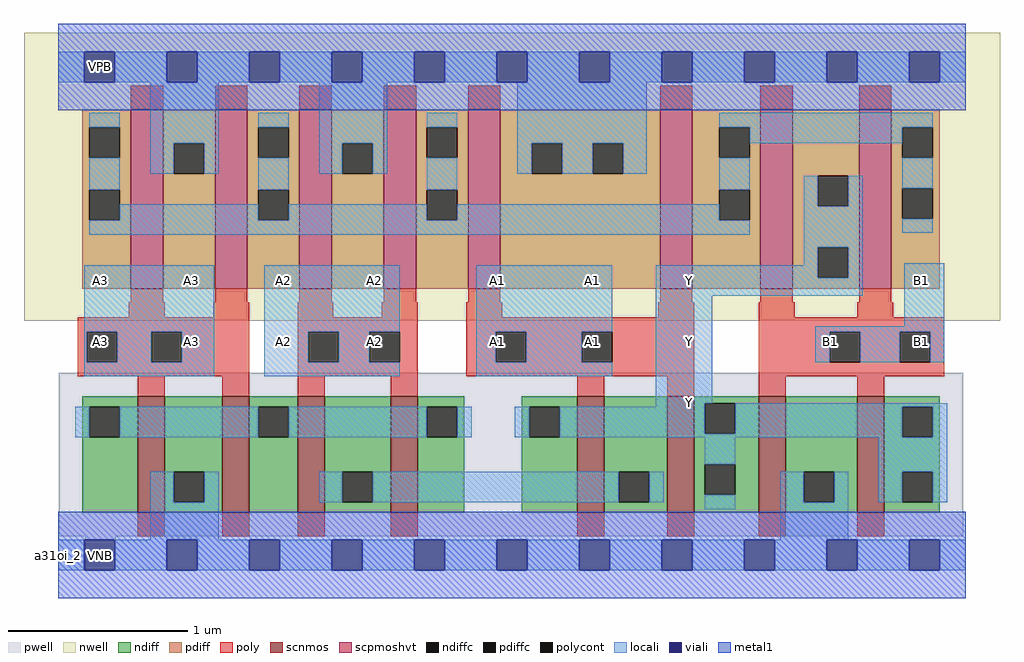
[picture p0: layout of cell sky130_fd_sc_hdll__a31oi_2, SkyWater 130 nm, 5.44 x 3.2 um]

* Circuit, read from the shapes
.subckt sky130_fd_sc_hdll__a31oi_2 A1 A2 A3 B1 VGND VNB VPB VPWR Y
XM1 VGND A3 n1 VNB sky130_fd_pr__nfet_01v8 w=0.65 l=0.15 m=2
XM2 n2 A2 n1 VNB sky130_fd_pr__nfet_01v8 w=0.65 l=0.15 m=2
XM3 n2 A1 Y VNB sky130_fd_pr__nfet_01v8 w=0.65 l=0.15 m=2
XM4 VGND B1 Y VNB sky130_fd_pr__nfet_01v8 w=0.65 l=0.15 m=2
XM5 VPWR A3 n3 VPB sky130_fd_pr__pfet_01v8_hvt w=1 l=0.18 m=2
XM6 VPWR A2 n3 VPB sky130_fd_pr__pfet_01v8_hvt w=1 l=0.18 m=2
XM7 VPWR A1 n3 VPB sky130_fd_pr__pfet_01v8_hvt w=1 l=0.18 m=2
XM8 Y B1 n3 VPB sky130_fd_pr__pfet_01v8_hvt w=1 l=0.18 m=2
.ends

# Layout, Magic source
magic
tech sky130A
magscale 1 2
<< nwell >>
rect -38 261 1050 582
<< pwell >>
rect 1 21 1009 203
rect 30 -17 64 21
<< scnmos >>
rect 89 47 119 177
rect 183 47 213 177
rect 267 47 297 177
rect 371 47 401 177
rect 579 47 609 177
rect 679 47 709 177
rect 781 47 811 177
rect 891 47 921 177
<< scpmoshvt >>
rect 81 297 117 497
rect 175 297 211 497
rect 269 297 305 497
rect 363 297 399 497
rect 457 297 493 497
rect 671 297 707 497
rect 783 297 819 497
rect 893 297 929 497
<< ndiff >>
rect 27 165 89 177
rect 27 131 35 165
rect 69 131 89 165
rect 27 47 89 131
rect 119 93 183 177
rect 119 59 129 93
rect 163 59 183 93
rect 119 47 183 59
rect 213 165 267 177
rect 213 131 223 165
rect 257 131 267 165
rect 213 47 267 131
rect 297 93 371 177
rect 297 59 317 93
rect 351 59 371 93
rect 297 47 371 59
rect 401 165 453 177
rect 401 131 411 165
rect 445 131 453 165
rect 401 47 453 131
rect 517 165 579 177
rect 517 131 525 165
rect 559 131 579 165
rect 517 47 579 131
rect 609 93 679 177
rect 609 59 625 93
rect 659 59 679 93
rect 609 47 679 59
rect 709 169 781 177
rect 709 135 721 169
rect 755 135 781 169
rect 709 101 781 135
rect 709 67 721 101
rect 755 67 781 101
rect 709 47 781 67
rect 811 93 891 177
rect 811 59 831 93
rect 865 59 891 93
rect 811 47 891 59
rect 921 165 983 177
rect 921 131 941 165
rect 975 131 983 165
rect 921 93 983 131
rect 921 59 941 93
rect 975 59 983 93
rect 921 47 983 59
<< pdiff >>
rect 27 477 81 497
rect 27 443 35 477
rect 69 443 81 477
rect 27 407 81 443
rect 27 373 35 407
rect 69 373 81 407
rect 27 297 81 373
rect 117 459 175 497
rect 117 425 129 459
rect 163 425 175 459
rect 117 297 175 425
rect 211 477 269 497
rect 211 443 223 477
rect 257 443 269 477
rect 211 407 269 443
rect 211 373 223 407
rect 257 373 269 407
rect 211 297 269 373
rect 305 459 363 497
rect 305 425 317 459
rect 351 425 363 459
rect 305 297 363 425
rect 399 477 457 497
rect 399 443 411 477
rect 445 443 457 477
rect 399 407 457 443
rect 399 373 411 407
rect 445 373 457 407
rect 399 297 457 373
rect 493 459 671 497
rect 493 425 528 459
rect 562 425 596 459
rect 630 425 671 459
rect 493 297 671 425
rect 707 477 783 497
rect 707 443 737 477
rect 771 443 783 477
rect 707 407 783 443
rect 707 373 737 407
rect 771 373 783 407
rect 707 297 783 373
rect 819 423 893 497
rect 819 389 847 423
rect 881 389 893 423
rect 819 343 893 389
rect 819 309 847 343
rect 881 309 893 343
rect 819 297 893 309
rect 929 477 983 497
rect 929 443 941 477
rect 975 443 983 477
rect 929 409 983 443
rect 929 375 941 409
rect 975 375 983 409
rect 929 297 983 375
<< ndiffc >>
rect 35 131 69 165
rect 129 59 163 93
rect 223 131 257 165
rect 317 59 351 93
rect 411 131 445 165
rect 525 131 559 165
rect 625 59 659 93
rect 721 135 755 169
rect 721 67 755 101
rect 831 59 865 93
rect 941 131 975 165
rect 941 59 975 93
<< pdiffc >>
rect 35 443 69 477
rect 35 373 69 407
rect 129 425 163 459
rect 223 443 257 477
rect 223 373 257 407
rect 317 425 351 459
rect 411 443 445 477
rect 411 373 445 407
rect 528 425 562 459
rect 596 425 630 459
rect 737 443 771 477
rect 737 373 771 407
rect 847 389 881 423
rect 847 309 881 343
rect 941 443 975 477
rect 941 375 975 409
<< poly >>
rect 81 497 117 523
rect 175 497 211 523
rect 269 497 305 523
rect 363 497 399 523
rect 457 497 493 523
rect 671 497 707 523
rect 783 497 819 523
rect 893 497 929 523
rect 81 282 117 297
rect 175 282 211 297
rect 269 282 305 297
rect 363 282 399 297
rect 457 282 493 297
rect 671 282 707 297
rect 783 282 819 297
rect 893 282 929 297
rect 79 265 119 282
rect 173 265 213 282
rect 22 249 213 265
rect 22 215 32 249
rect 66 215 104 249
rect 138 215 213 249
rect 22 199 213 215
rect 89 177 119 199
rect 183 177 213 199
rect 267 265 307 282
rect 361 265 401 282
rect 267 249 401 265
rect 267 215 279 249
rect 313 215 347 249
rect 381 215 401 249
rect 267 199 401 215
rect 455 265 495 282
rect 669 265 709 282
rect 455 249 709 265
rect 455 215 488 249
rect 522 215 584 249
rect 618 215 709 249
rect 455 199 709 215
rect 267 177 297 199
rect 371 177 401 199
rect 579 177 609 199
rect 679 177 709 199
rect 781 265 821 282
rect 891 265 931 282
rect 781 249 988 265
rect 781 215 860 249
rect 894 215 938 249
rect 972 215 988 249
rect 781 199 988 215
rect 781 177 811 199
rect 891 177 921 199
rect 89 21 119 47
rect 183 21 213 47
rect 267 21 297 47
rect 371 21 401 47
rect 579 21 609 47
rect 679 21 709 47
rect 781 21 811 47
rect 891 21 921 47
<< polycont >>
rect 32 215 66 249
rect 104 215 138 249
rect 279 215 313 249
rect 347 215 381 249
rect 488 215 522 249
rect 584 215 618 249
rect 860 215 894 249
rect 938 215 972 249
<< locali >>
rect 0 527 29 561
rect 63 527 121 561
rect 155 527 213 561
rect 247 527 305 561
rect 339 527 397 561
rect 431 527 489 561
rect 523 527 581 561
rect 615 527 673 561
rect 707 527 765 561
rect 799 527 857 561
rect 891 527 949 561
rect 983 527 1012 561
rect 35 477 69 493
rect 35 407 69 443
rect 103 459 179 527
rect 103 425 129 459
rect 163 425 179 459
rect 223 477 257 493
rect 223 407 257 443
rect 291 459 367 527
rect 291 425 317 459
rect 351 425 367 459
rect 411 477 445 493
rect 69 373 223 391
rect 411 407 445 443
rect 512 459 656 527
rect 512 425 528 459
rect 562 425 596 459
rect 630 425 656 459
rect 737 477 975 493
rect 771 459 941 477
rect 257 373 411 391
rect 737 407 771 443
rect 445 373 737 391
rect 35 357 771 373
rect 831 389 847 423
rect 881 389 897 423
rect 831 343 897 389
rect 941 409 975 443
rect 941 359 975 375
rect 831 323 847 343
rect 29 249 174 323
rect 29 215 32 249
rect 66 215 104 249
rect 138 215 174 249
rect 29 199 174 215
rect 230 249 381 323
rect 230 215 279 249
rect 313 215 347 249
rect 230 199 381 215
rect 466 249 618 323
rect 466 215 488 249
rect 522 215 584 249
rect 466 199 618 215
rect 666 309 847 323
rect 881 309 897 343
rect 666 289 897 309
rect 666 169 729 289
rect 943 255 988 325
rect 844 249 988 255
rect 844 215 860 249
rect 894 215 938 249
rect 972 215 988 249
rect 666 165 721 169
rect 19 131 35 165
rect 69 131 223 165
rect 257 131 411 165
rect 445 131 461 165
rect 509 131 525 165
rect 559 135 721 165
rect 755 165 991 169
rect 755 135 941 165
rect 559 131 941 135
rect 975 131 991 165
rect 721 101 755 131
rect 103 59 129 93
rect 163 59 179 93
rect 291 59 317 93
rect 351 59 625 93
rect 659 59 675 93
rect 915 93 991 131
rect 103 17 179 59
rect 721 51 755 67
rect 805 59 831 93
rect 865 59 881 93
rect 915 59 941 93
rect 975 59 991 93
rect 805 17 881 59
rect 0 -17 29 17
rect 63 -17 121 17
rect 155 -17 213 17
rect 247 -17 305 17
rect 339 -17 397 17
rect 431 -17 489 17
rect 523 -17 581 17
rect 615 -17 673 17
rect 707 -17 765 17
rect 799 -17 857 17
rect 891 -17 949 17
rect 983 -17 1012 17
<< viali >>
rect 29 527 63 561
rect 121 527 155 561
rect 213 527 247 561
rect 305 527 339 561
rect 397 527 431 561
rect 489 527 523 561
rect 581 527 615 561
rect 673 527 707 561
rect 765 527 799 561
rect 857 527 891 561
rect 949 527 983 561
rect 29 -17 63 17
rect 121 -17 155 17
rect 213 -17 247 17
rect 305 -17 339 17
rect 397 -17 431 17
rect 489 -17 523 17
rect 581 -17 615 17
rect 673 -17 707 17
rect 765 -17 799 17
rect 857 -17 891 17
rect 949 -17 983 17
<< metal1 >>
rect 0 561 1012 592
rect 0 527 29 561
rect 63 527 121 561
rect 155 527 213 561
rect 247 527 305 561
rect 339 527 397 561
rect 431 527 489 561
rect 523 527 581 561
rect 615 527 673 561
rect 707 527 765 561
rect 799 527 857 561
rect 891 527 949 561
rect 983 527 1012 561
rect 0 496 1012 527
rect 0 17 1012 48
rect 0 -17 29 17
rect 63 -17 121 17
rect 155 -17 213 17
rect 247 -17 305 17
rect 339 -17 397 17
rect 431 -17 489 17
rect 523 -17 581 17
rect 615 -17 673 17
rect 707 -17 765 17
rect 799 -17 857 17
rect 891 -17 949 17
rect 983 -17 1012 17
rect 0 -48 1012 -17
<< labels >>
flabel locali s 132 221 166 255 0 FreeSans 200 0 0 0 A3
port 3 nsew signal input
flabel locali s 946 221 980 255 0 FreeSans 200 0 0 0 B1
port 4 nsew signal input
flabel locali s 844 221 878 255 0 FreeSans 200 0 0 0 B1
port 4 nsew signal input
flabel locali s 687 221 721 255 0 FreeSans 200 0 0 0 Y
port 9 nsew signal output
flabel locali s 687 289 721 323 0 FreeSans 200 0 0 0 Y
port 9 nsew signal output
flabel locali s 946 289 980 323 0 FreeSans 200 0 0 0 B1
port 4 nsew signal input
flabel locali s 579 289 613 323 0 FreeSans 200 0 0 0 A1
port 1 nsew signal input
flabel locali s 473 289 507 323 0 FreeSans 200 0 0 0 A1
port 1 nsew signal input
flabel locali s 473 221 507 255 0 FreeSans 200 0 0 0 A1
port 1 nsew signal input
flabel locali s 687 153 721 187 0 FreeSans 200 0 0 0 Y
port 9 nsew signal output
flabel locali s 336 289 370 323 0 FreeSans 200 0 0 0 A2
port 2 nsew signal input
flabel locali s 234 221 268 255 0 FreeSans 200 0 0 0 A2
port 2 nsew signal input
flabel locali s 234 289 268 323 0 FreeSans 200 0 0 0 A2
port 2 nsew signal input
flabel locali s 579 221 613 255 0 FreeSans 200 0 0 0 A1
port 1 nsew signal input
flabel locali s 132 289 166 323 0 FreeSans 200 0 0 0 A3
port 3 nsew signal input
flabel locali s 30 289 64 323 0 FreeSans 200 0 0 0 A3
port 3 nsew signal input
flabel locali s 30 221 64 255 0 FreeSans 200 0 0 0 A3
port 3 nsew signal input
flabel locali s 336 221 370 255 0 FreeSans 200 0 0 0 A2
port 2 nsew signal input
flabel pwell s 30 -17 64 17 0 FreeSans 200 0 0 0 VNB
port 6 nsew ground bidirectional
flabel nwell s 30 527 64 561 0 FreeSans 200 0 0 0 VPB
port 7 nsew power bidirectional
flabel metal1 s 30 527 64 561 0 FreeSans 200 0 0 0 VPWR
port 8 nsew power bidirectional
flabel metal1 s 30 -17 64 17 0 FreeSans 200 0 0 0 VGND
port 5 nsew ground bidirectional
rlabel comment s 0 0 0 0 4 a31oi_2
<< properties >>
string LEFsite unithd
string LEFclass CORE
string FIXED_BBOX 0 0 1012 544
string GDS_FILE $PDKPATH/libs.ref/sky130_fd_sc_hdll/gds/sky130_fd_sc_hdll.gds
string LEFsymmetry X Y R90
string GDS_END 1588854
string GDS_START 1579612
string LEFproperties maskLayoutSubType "abstract" prCellType "standard" originalViewName "layout"
<< end >>
